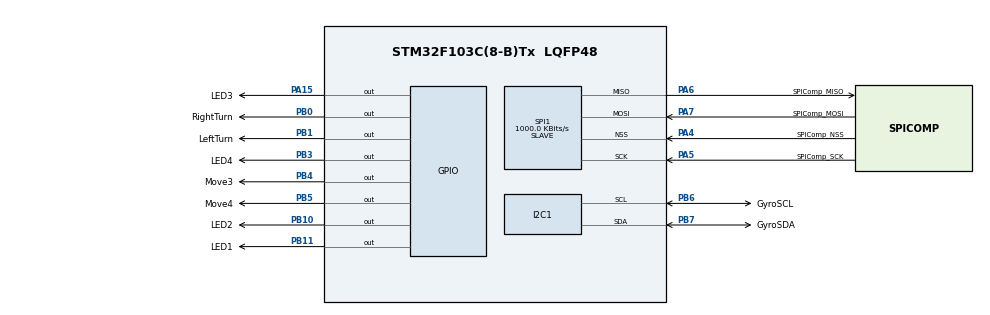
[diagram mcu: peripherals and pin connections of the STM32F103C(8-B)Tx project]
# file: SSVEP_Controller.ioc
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FREERTOS.Tasks01=LED1Blink,24,128,StartLED1Blink,Default,NULL,Dynamic,NULL,NULL;LED2Blink,8,128,StartLED2Blink,Default,NULL,Dynamic,NULL,NULL;LED3Blink,8,128,StartLED3Blink,Default,NULL,Dynamic,NULL,NULL;LED4Blink,8,128,StartLED4Blink,Default,NULL,Dynamic,NULL,NULL
Mcu.Family=STM32F1
Mcu.Name=STM32F103C(8-B)Tx
Mcu.Package=LQFP48
NVIC.PriorityGroup=NVIC_PRIORITYGROUP_4
NVIC.TIM2_IRQn=true\:0\:0\:false\:false\:true\:false\:false\:true
NVIC.TimeBase=TIM2_IRQn
NVIC.TimeBaseIP=TIM2
PA13.Mode=Serial_Wire
PA13.Signal=SYS_JTMS-SWDIO
PA14.Mode=Serial_Wire
PA14.Signal=SYS_JTCK-SWCLK
PA15.GPIO_Label=LED3
PA15.Signal=GPIO_Output
PA4.GPIO_Label=SPIComp_NSS
PA4.Mode=NSS_Signal_Hard_Input
PA4.Signal=SPI1_NSS
PA5.GPIO_Label=SPIComp_SCK
PA5.Mode=Full_Duplex_Slave
PA5.Signal=SPI1_SCK
PA6.GPIO_Label=SPIComp_MISO
PA6.Mode=Full_Duplex_Slave
PA6.Signal=SPI1_MISO
PA7.GPIO_Label=SPIComp_MOSI
PA7.Mode=Full_Duplex_Slave
PA7.Signal=SPI1_MOSI
PB0.GPIO_Label=RightTurn
PB0.Signal=GPIO_Output
PB1.GPIO_Label=LeftTurn
PB1.Signal=GPIO_Output
PB10.GPIO_Label=LED2
PB10.Signal=GPIO_Output
PB11.GPIO_Label=LED1
PB11.Signal=GPIO_Output
PB3.GPIO_Label=LED4
PB3.Signal=GPIO_Output
PB4.GPIO_Label=Move3
PB4.Signal=GPIO_Output
PB5.GPIO_Label=Move4
PB5.Signal=GPIO_Output
PB6.GPIO_Label=GyroSCL
PB6.Mode=I2C
PB6.Signal=I2C1_SCL
PB7.GPIO_Label=GyroSDA
PB7.Mode=I2C
PB7.Signal=I2C1_SDA
ProjectManager.HeapSize=0x200
ProjectManager.StackSize=0x400
ProjectManager.TargetToolchain=MDK-ARM V5.27
RCC.APB1Freq_Value=8000000
RCC.APB2Freq_Value=8000000
SPI1.BaudRatePrescaler=SPI_BAUDRATEPRESCALER_8
SPI1.CalculateBaudRate=1000.0 KBits/s
SPI1.Direction=SPI_DIRECTION_2LINES
SPI1.Mode=SPI_MODE_SLAVE
SPI1.VirtualNSS=VM_NSSHARD
SPI1.VirtualType=VM_SLAVE
VP_FREERTOS_VS_CMSIS_V2.Mode=CMSIS_V2
VP_SYS_VS_tim2.Mode=TIM2
board=custom

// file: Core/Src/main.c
/* USER CODE BEGIN Header */
/**
  ******************************************************************************
  * @file           : main.c
  * @brief          : Main program body
  ******************************************************************************
  * @attention
  *
  * <h2><center>&copy; Copyright (c) 2020 STMicroelectronics.
  * All rights reserved.</center></h2>
  *
  * This software component is licensed by ST under BSD 3-Clause license,
  * the "License"; You may not use this file except in compliance with the
  * License. You may obtain a copy of the License at:
  *                        opensource.org/licenses/BSD-3-Clause
  *
  ******************************************************************************
  */
/* USER CODE END Header */
#include "main.h"
#include "cmsis_os.h"

/* USER CODE BEGIN Includes */
#include "stdio.h"
#include "stdint.h"
#include "FloatIntConv.h"
/* USER CODE END Includes */

I2C_HandleTypeDef hi2c1;
SPI_HandleTypeDef hspi1;

// Global variables for light frequencies
double lightFreqHz1 = 10;
double lightFreqHz2 = 1;
double lightFreqHz3 = 1;
double lightFreqHz4 = 1;

// Initialize buffer variables to store SPI received data
uint8_t instrReceiv;
uint8_t LEDinfo[4];

// Global delay variable for pulse length of move command [ms]
uint32_t movePulseDelay = 5;

/* Definitions for LED1Blink */
osThreadId_t LED1BlinkHandle;
const osThreadAttr_t LED1Blink_attributes = {
  .name = "LED1Blink",
  .priority = (osPriority_t) osPriorityNormal,
  .stack_size = 128 * 4
};
/* Definitions for LED2Blink */
osThreadId_t LED2BlinkHandle;
const osThreadAttr_t LED2Blink_attributes = {
  .name = "LED2Blink",
  .priority = (osPriority_t) osPriorityLow,
  .stack_size = 128 * 4
};
/* Definitions for LED3Blink */
osThreadId_t LED3BlinkHandle;
const osThreadAttr_t LED3Blink_attributes = {
  .name = "LED3Blink",
  .priority = (osPriority_t) osPriorityLow,
  .stack_size = 128 * 4
};
/* Definitions for LED4Blink */
osThreadId_t LED4BlinkHandle;
const osThreadAttr_t LED4Blink_attributes = {
  .name = "LED4Blink",
  .priority = (osPriority_t) osPriorityLow,
  .stack_size = 128 * 4
};
/* USER CODE BEGIN PV */

/* Definitions for GyroCom */
osThreadId_t GyroComHandle;
const osThreadAttr_t GyroCom_attributes = {
  .name = "GyroCom",
  .priority = (osPriority_t) osPriorityLow,
  .stack_size = 128 * 4
};
/* Definitions for SPI_Com */
osThreadId_t SPI_ComHandle;
const osThreadAttr_t SPI_Com_attributes = {
  .name = "SPI_Com",
  .priority = (osPriority_t) osPriorityLow,
  .stack_size = 128 * 4
};

// Surface SPI User Made Instructions (even parity)
//1. Write the LED frequencies
const uint8_t WriteLEDFreq_instr = 0x55;
//2. Assert a movement command, read if movement was successfull
const uint8_t AssertLeft_instr = 0x65;
const uint8_t AssertRight_instr = 0x66;
const uint8_t AssertMove3_instr = 0x69;
const uint8_t AssertMove4_instr = 0x6A;
//3. Commands send by MCU to indicate if movement was sent to wheelchair
const uint8_t AckYes = 0x95;
const uint8_t AckNo = 0x96;

/* USER CODE END PV */

void SystemClock_Config(void);
static void MX_GPIO_Init(void);
static void MX_I2C1_Init(void);
static void MX_SPI1_Init(void);
void StartLED1Blink(void *argument);
void StartLED2Blink(void *argument);
void StartLED3Blink(void *argument);
void StartLED4Blink(void *argument);

/* USER CODE BEGIN PFP */
void StartGyroCom(void *argument);
void StartSPI_Com(void *argument);
/* USER CODE END PFP */

int main(void)
{
  /* USER CODE BEGIN 1 */\
	  /* USER CODE END 1 */

  /* MCU Configuration--------------------------------------------------------*/

  /* Reset of all peripherals, Initializes the Flash interface and the Systick. */
  HAL_Init();

  /* Configure the system clock */
  SystemClock_Config();

  /* Initialize all configured peripherals */
  MX_GPIO_Init();
  MX_I2C1_Init();
  MX_SPI1_Init();

  /* Init scheduler */
  osKernelInitialize();

  /* Create the thread(s) */
  /* creation of LED1Blink */
  LED1BlinkHandle = osThreadNew(StartLED1Blink, NULL, &LED1Blink_attributes);

  /* creation of LED2Blink */
  LED2BlinkHandle = osThreadNew(StartLED2Blink, NULL, &LED2Blink_attributes);

  /* creation of LED3Blink */
  LED3BlinkHandle = osThreadNew(StartLED3Blink, NULL, &LED3Blink_attributes);

  /* creation of LED4Blink */
  LED4BlinkHandle = osThreadNew(StartLED4Blink, NULL, &LED4Blink_attributes);

  /* USER CODE BEGIN RTOS_THREADS */

  GyroComHandle = osThreadNew(StartGyroCom, NULL, &GyroCom_attributes);
  SPI_ComHandle = osThreadNew(StartSPI_Com, NULL, &SPI_Com_attributes);

  /* USER CODE END RTOS_THREADS */

  /* Start scheduler */
  osKernelStart(); // No code below this will execute!

  /* We should never get here as control is now taken by the scheduler */
  /* Infinite loop */
  while (1)
  {

  }
}

void SystemClock_Config(void)
{
  RCC_OscInitTypeDef RCC_OscInitStruct = {0};
  RCC_ClkInitTypeDef RCC_ClkInitStruct = {0};

  /** Initializes the RCC Oscillators according to the specified parameters
  * in the RCC_OscInitTypeDef structure.
  */
  RCC_OscInitStruct.OscillatorType = RCC_OSCILLATORTYPE_HSI;
  RCC_OscInitStruct.HSIState = RCC_HSI_ON;
  RCC_OscInitStruct.HSICalibrationValue = RCC_HSICALIBRATION_DEFAULT;
  RCC_OscInitStruct.PLL.PLLState = RCC_PLL_NONE;
  if (HAL_RCC_OscConfig(&RCC_OscInitStruct) != HAL_OK)
  {
    Error_Handler();
  }
  /** Initializes the CPU, AHB and APB buses clocks
  */
  RCC_ClkInitStruct.ClockType = RCC_CLOCKTYPE_HCLK|RCC_CLOCKTYPE_SYSCLK
                              |RCC_CLOCKTYPE_PCLK1|RCC_CLOCKTYPE_PCLK2;
  RCC_ClkInitStruct.SYSCLKSource = RCC_SYSCLKSOURCE_HSI;
  RCC_ClkInitStruct.AHBCLKDivider = RCC_SYSCLK_DIV1;
  RCC_ClkInitStruct.APB1CLKDivider = RCC_HCLK_DIV1;
  RCC_ClkInitStruct.APB2CLKDivider = RCC_HCLK_DIV1;

  if (HAL_RCC_ClockConfig(&RCC_ClkInitStruct, FLASH_LATENCY_0) != HAL_OK)
  {
    Error_Handler();
  }
}

static void MX_I2C1_Init(void)
{

  hi2c1.Instance = I2C1;
  // MPU 6050 I2C Clock speed is 400kHz
	hi2c1.Init.ClockSpeed = 400000;
  hi2c1.Init.DutyCycle = I2C_DUTYCYCLE_2;
  hi2c1.Init.OwnAddress1 = 0;
  hi2c1.Init.AddressingMode = I2C_ADDRESSINGMODE_7BIT;
  hi2c1.Init.DualAddressMode = I2C_DUALADDRESS_DISABLE;
  hi2c1.Init.OwnAddress2 = 0;
  hi2c1.Init.GeneralCallMode = I2C_GENERALCALL_DISABLE;
  hi2c1.Init.NoStretchMode = I2C_NOSTRETCH_DISABLE;
  if (HAL_I2C_Init(&hi2c1) != HAL_OK)
  {
    Error_Handler();
  }

}

static void MX_SPI1_Init(void)
{

  /* SPI1 parameter configuration*/
  hspi1.Instance = SPI1;
  hspi1.Init.Mode = SPI_MODE_SLAVE;
  hspi1.Init.Direction = SPI_DIRECTION_2LINES;
  hspi1.Init.DataSize = SPI_DATASIZE_8BIT;
  hspi1.Init.CLKPolarity = SPI_POLARITY_LOW;
  hspi1.Init.CLKPhase = SPI_PHASE_1EDGE;
  hspi1.Init.NSS = SPI_NSS_HARD_INPUT;
	// Change prescaler to 8 to lower baud rate to 1000 KBits/s
  hspi1.Init.BaudRatePrescaler = SPI_BAUDRATEPRESCALER_8;
  hspi1.Init.FirstBit = SPI_FIRSTBIT_MSB;
  hspi1.Init.TIMode = SPI_TIMODE_DISABLE;
  hspi1.Init.CRCCalculation = SPI_CRCCALCULATION_DISABLE;
  hspi1.Init.CRCPolynomial = 10;
  if (HAL_SPI_Init(&hspi1) != HAL_OK)
  {
    Error_Handler();
  }

}

static void MX_GPIO_Init(void)
{
  GPIO_InitTypeDef GPIO_InitStruct = {0};

  /* GPIO Ports Clock Enable */
  __HAL_RCC_GPIOA_CLK_ENABLE();
  __HAL_RCC_GPIOB_CLK_ENABLE();

  /*Configure GPIO pin Output Level */
  HAL_GPIO_WritePin(GPIOB, RightTurn_Pin|LeftTurn_Pin|LED2_Pin|LED1_Pin
                          |LED4_Pin|Move3_Pin|Move4_Pin, GPIO_PIN_RESET);

  /*Configure GPIO pin Output Level */
  HAL_GPIO_WritePin(LED3_GPIO_Port, LED3_Pin, GPIO_PIN_RESET);

  /*Configure GPIO pins : RightTurn_Pin LeftTurn_Pin LED2_Pin LED1_Pin
                           LED4_Pin Move3_Pin Move4_Pin */
  GPIO_InitStruct.Pin = RightTurn_Pin|LeftTurn_Pin|LED2_Pin|LED1_Pin
                          |LED4_Pin|Move3_Pin|Move4_Pin;
  GPIO_InitStruct.Mode = GPIO_MODE_OUTPUT_PP;
  GPIO_InitStruct.Pull = GPIO_NOPULL;
  GPIO_InitStruct.Speed = GPIO_SPEED_FREQ_LOW;
  HAL_GPIO_Init(GPIOB, &GPIO_InitStruct);

  /*Configure GPIO pin : LED3_Pin */
  GPIO_InitStruct.Pin = LED3_Pin;
  GPIO_InitStruct.Mode = GPIO_MODE_OUTPUT_PP;
  GPIO_InitStruct.Pull = GPIO_NOPULL;
  GPIO_InitStruct.Speed = GPIO_SPEED_FREQ_LOW;
  HAL_GPIO_Init(LED3_GPIO_Port, &GPIO_InitStruct);

}

void StartLED1Blink(void *argument)
{
  /* USER CODE BEGIN 5 */
  /* Infinite loop */
  for(;;)
  {
		// Toggle LED1
		HAL_GPIO_TogglePin(LED1_GPIO_Port,LED1_Pin);
    osDelay((1/lightFreqHz1)*1000*0.5);
  }
  // Cleanup in case we exit task loop above
	osThreadTerminate(NULL);
	/* USER CODE END 5 */
}

void StartLED2Blink(void *argument)
{
  /* USER CODE BEGIN StartLED2Blink */
  /* Infinite loop */
  for(;;)
  {
		HAL_GPIO_TogglePin(LED2_GPIO_Port,LED2_Pin);
    osDelay((1/lightFreqHz2)*1000*0.5);
  }
	// Cleanup in case we exit task loop above
	osThreadTerminate(NULL);
  /* USER CODE END StartLED2Blink */
}

void StartLED3Blink(void *argument)
{
  /* USER CODE BEGIN StartLED3Blink */
  /* Infinite loop */
  for(;;)
  {
		HAL_GPIO_TogglePin(LED3_GPIO_Port,LED3_Pin);
		osDelay((1/lightFreqHz3)*1000*0.5);
  }
	// Cleanup in case we exit task loop above
	osThreadTerminate(NULL);
  /* USER CODE END StartLED3Blink */
}

void StartLED4Blink(void *argument)
{
  /* USER CODE BEGIN StartLED4Blink */
  /* Infinite loop */
  for(;;)
  {
		HAL_GPIO_TogglePin(LED4_GPIO_Port,LED4_Pin);
		osDelay((1/lightFreqHz4)*1000*0.5);
  }
	// Cleanup in case we exit task loop above
	osThreadTerminate(NULL);
  /* USER CODE END StartLED4Blink */
}

void StartGyroCom(void *argument)
{
  /* USER CODE BEGIN StartLED4Blink */
  /* Infinite loop */
  for(;;)
  {
		// Test data to make send out the turn commands

		// Turn right
		osDelay(15*1000); // Wait 15 seconds
		HAL_GPIO_WritePin(RightTurn_GPIO_Port,RightTurn_Pin,GPIO_PIN_SET);
		osDelay(movePulseDelay);
		//HAL_GPIO_WritePin(RightTurn_GPIO_Port,RightTurn_Pin,GPIO_PIN_RESET);
		// Turn left
		osDelay(15*1000); // Wait 15 seconds
		HAL_GPIO_WritePin(LeftTurn_GPIO_Port,LeftTurn_Pin,GPIO_PIN_SET);
		osDelay(movePulseDelay);
		HAL_GPIO_WritePin(LeftTurn_GPIO_Port,LeftTurn_Pin,GPIO_PIN_RESET);
  }
	// Cleanup in case we exit task loop above
	osThreadTerminate(NULL);
  /* USER CODE END GyroCom */
}

void StartSPI_Com(void *argument)
{
  /* USER CODE BEGIN StartLED4Blink */

  /* Infinite loop */
  for(;;)
  {
		// Wait to receive instruction
		HAL_SPI_Receive(&hspi1,&instrReceiv,1,HAL_MAX_DELAY);

		// Execute response depending on instruction sent
		switch(instrReceiv)
		{
				case AssertLeft_instr:
				/* In future check to see if moving through Gyro, only move
				if chair is stationary, send ackYes or ackNo depending on whether
				the chair moved	*/

				// Transmit that you are initiating the turn
				HAL_SPI_Transmit(&hspi1,(uint8_t *)&AckYes,1,HAL_MAX_DELAY);
				// Toggle the left turn pin on for movePulseDelay
				HAL_GPIO_WritePin(LeftTurn_GPIO_Port,LeftTurn_Pin,GPIO_PIN_SET);
				osDelay(movePulseDelay);
				HAL_GPIO_WritePin(LeftTurn_GPIO_Port,LeftTurn_Pin,GPIO_PIN_RESET);
				break;
			case AssertRight_instr:
				/* In future check to see if moving through Gyro, only move
				if chair is stationary, send ackYes or ackNo depending on whether
				the chair moved	*/

				// Transmit that you are initiating the turn
				HAL_SPI_Transmit(&hspi1,(uint8_t *)&AckYes,1,HAL_MAX_DELAY);
				// Toggle the left turn pin on for movePulseDelay
				HAL_GPIO_WritePin(RightTurn_GPIO_Port,RightTurn_Pin,GPIO_PIN_SET);
				osDelay(movePulseDelay);
				HAL_GPIO_WritePin(RightTurn_GPIO_Port,RightTurn_Pin,GPIO_PIN_RESET);
				break;
			case AssertMove3_instr:
				/* In future check to see if moving through Gyro, only move
				if chair is stationary, send ackYes or ackNo depending on whether
				the chair moved	*/

				// Transmit that you are initiating the movement
				HAL_SPI_Transmit(&hspi1,(uint8_t *)&AckYes,1,HAL_MAX_DELAY);
				// Toggle the left turn pin on for movePulseDelay
				HAL_GPIO_WritePin(Move3_GPIO_Port,Move3_Pin,GPIO_PIN_SET);
				osDelay(movePulseDelay);
				HAL_GPIO_WritePin(Move3_GPIO_Port,Move3_Pin,GPIO_PIN_RESET);
				break;
			case AssertMove4_instr:
				/* In future check to see if moving through Gyro, only move
				if chair is stationary, send ackYes or ackNo depending on whether
				the chair moved	*/

				// Transmit that you are initiating the movement
				HAL_SPI_Transmit(&hspi1,(uint8_t *)&AckYes,1,HAL_MAX_DELAY);
				// Toggle the left turn pin on for movePulseDelay
				HAL_GPIO_WritePin(Move4_GPIO_Port,Move4_Pin,GPIO_PIN_SET);
				osDelay(movePulseDelay);
				HAL_GPIO_WritePin(Move4_GPIO_Port,Move4_Pin,GPIO_PIN_RESET);
				break;
			case WriteLEDFreq_instr:
				// Read the incoming data and update light frequency values
				HAL_SPI_Receive(&hspi1,LEDinfo,4,HAL_MAX_DELAY);
				lightFreqHz1 = LEDinfo[0];
				lightFreqHz2 = LEDinfo[1];
				lightFreqHz3 = LEDinfo[2];
				lightFreqHz4 = LEDinfo[3];
				break;
		}

  }
	// Cleanup in case we exit task loop above
	osThreadTerminate(NULL);
  /* USER CODE END SPI_Com */
}

void HAL_TIM_PeriodElapsedCallback(TIM_HandleTypeDef *htim)
{
  if (htim->Instance == TIM2) {
    HAL_IncTick();
  }
}

void Error_Handler(void)
{
}

/************************ (C) COPYRIGHT STMicroelectronics *****END OF FILE****/
